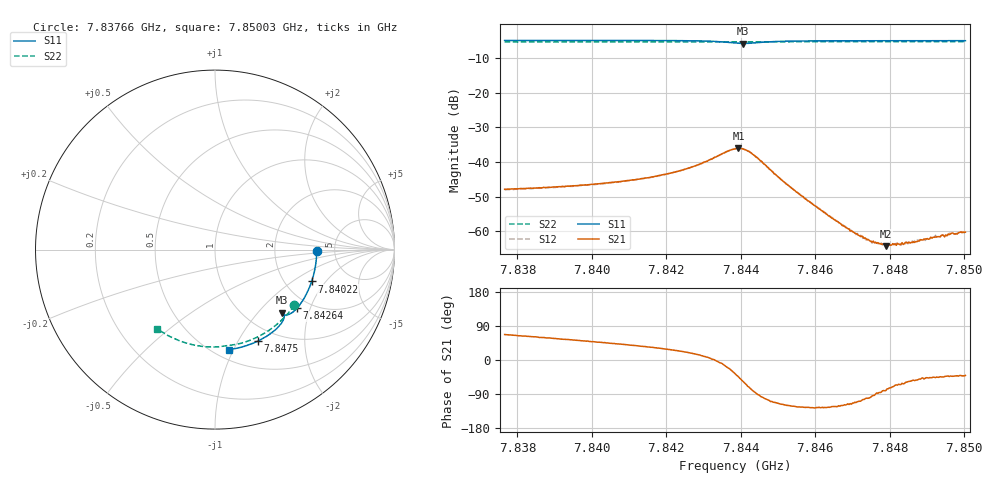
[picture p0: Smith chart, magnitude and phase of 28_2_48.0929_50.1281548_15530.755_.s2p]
#  HZ  S  RI  R  50.00
! Rohde & Schwarz Vector Network Analyzer
! Rohde-Schwarz,ZNB20-2Port,1311601062101988,3.16
! Created: UTC 12/23/2023, 3:37:23 AM
! freq[Hz]  re:S11  im:S11  re:S21  im:S21  re:S12  im:S12  re:S22  im:S22
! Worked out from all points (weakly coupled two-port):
!   401 points, 7.83766 GHz to 7.85003 GHz, reference 50 ohm
!   highest |S21| = -36.03 dB at 7.84394 GHz (marker M1); lowest = -64.3 dB at 7.8479 GHz (marker M2)
!   lowest |S11| = -5.8 dB at 7.84406 GHz (marker M3), VSWR 3.10, Z = 71.3 - j68.1 ohm
!   |S11| at or under -10 dB: nowhere
!   |S22| runs from -5.4 to -5.3 dB; largest |S21 - S12| = 0.0003
!   S11 on the Smith chart (normalised r, x): 7.83766 GHz: 3.61, -0.09; 7.84022 GHz: 2.77, -1.45; 7.84264 GHz: 1.71, -1.63; 7.8475 GHz: 0.82, -1.22; 7.85003 GHz: 0.59, -0.96
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7.837655e9  0.5667 -0.00878  0.00156 0.00372  0.00158 0.00365  0.4424 -0.3093
7.839729e9  0.5481 -0.1458  0.00294 0.00358  0.00286 0.00357  0.3448 -0.4165
7.840224e9  0.5385 -0.1776  0.00334 0.00354  0.00328 0.00351  0.3176 -0.4379
7.841802e9  0.4935 -0.2764  0.00543 0.00331  0.00537 0.00328  0.222 -0.4939
7.842638e9  0.4575 -0.326  0.00784 0.00263  0.00778 0.00268  0.1671 -0.5151
7.843381e9  0.41 -0.3618  0.0122 -0.000888  0.0121 -0.000855  0.1163 -0.528
7.843845e9  0.3758 -0.3602  0.0125 -0.0091  0.0127 -0.00904  0.0853 -0.5322
7.843938e9  0.373 -0.356  0.0113 -0.011  0.0112 -0.011  0.0795 -0.533
7.844062e9  0.3731 -0.3516  0.00841 -0.0129  0.00856 -0.0128  0.0718 -0.5341
7.844216e9  0.378 -0.3506  0.00457 -0.0134  0.0046 -0.0135  0.062 -0.536
7.844371e9  0.3836 -0.3561  0.00117 -0.0123  0.00111 -0.0123  0.0521 -0.5377
7.845176e9  0.3696 -0.411  -0.00242 -0.00446  -0.00241 -0.00447  -0.00435 -0.5429
7.845919e9  0.3322 -0.4503  -0.00145 -0.00202  -0.00149 -0.00202  -0.0567 -0.5408
7.846878e9  0.2775 -0.4891  -0.000471 -0.00098  -0.000508 -0.000974  -0.1233 -0.5303
7.847497e9  0.2405 -0.5091  -9.7e-05 -0.000712  -9.59e-05 -0.000704  -0.1655 -0.5191
7.847899e9  0.2156 -0.5201  0.000101 -0.0006  0.000112 -0.000632  -0.1922 -0.5101
7.847992e9  0.2098 -0.5226  0.000183 -0.000615  0.000166 -0.000608  -0.1983 -0.5078
7.848456e9  0.1806 -0.5333  0.000363 -0.000591  0.000369 -0.000565  -0.2284 -0.4952
7.848735e9  0.163 -0.5389  0.000426 -0.000564  0.000467 -0.000592  -0.246 -0.4868
7.848921e9  0.1508 -0.5426  0.000488 -0.000585  0.000508 -0.000586  -0.2576 -0.4808
7.849632e9  0.1047 -0.553  0.000674 -0.000614  0.000698 -0.000617  -0.3009 -0.4556
7.850035e9  0.0782 -0.5573  0.000732 -0.000633  0.000752 -0.000668  -0.324 -0.4398
